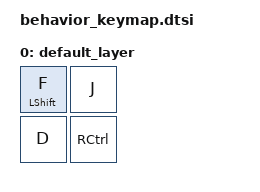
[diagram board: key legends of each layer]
#include <dt-bindings/zmk/keys.h>
#include <behaviors.dtsi>
#include <dt-bindings/zmk/kscan_mock.h>

/ {
	behaviors {
		ht_tpp: behavior_hold_tap_tap_positionally_preferred {
			compatible = "zmk,behavior-hold-tap";
			label = "HOLD_TAP_TAP_POSITIONALLY_PREFERRED";
			#binding-cells = <2>;
			flavor = "tap-preferred";
			tapping-term-ms = <300>;
			quick-tap-ms = <200>;
			bindings = <&kp>, <&kp>;
			hold-trigger-key-positions = <1 2 3>;
		};
	};

	keymap {
		compatible = "zmk,keymap";
		label ="Default keymap";

		default_layer {
			bindings = <
				&ht_tpp LEFT_SHIFT F &kp J
				&kp D &kp RIGHT_CONTROL>;
		};
	};
};
